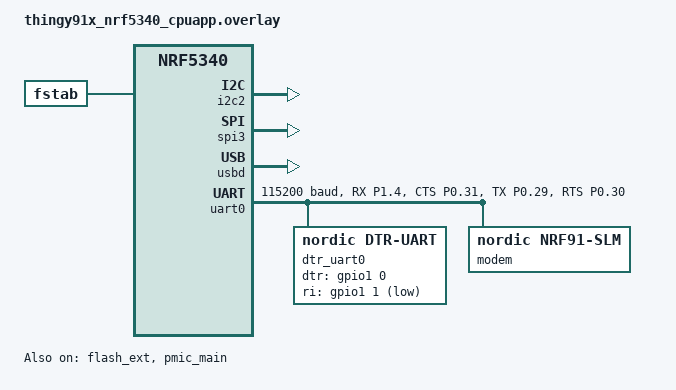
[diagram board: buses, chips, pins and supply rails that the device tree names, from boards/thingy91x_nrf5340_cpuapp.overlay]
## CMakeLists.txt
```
# SPDX-License-Identifier: Apache-2.0

cmake_minimum_required(VERSION 3.20.0)

find_package(Zephyr REQUIRED HINTS $ENV{ZEPHYR_BASE})
project(t91x_memfault_slm_host_app)

target_include_directories(app PRIVATE ota)

target_sources(app PRIVATE src/main.c src/ota_download.c src/sm_xdfu.c ota/ota_bundle_decode.c)

target_sources(app PRIVATE ${ZEPHYR_NRF_MODULE_DIR}/subsys/dfu/fmfu_fdev/src/modem_update_decode.c)
target_include_directories(app PRIVATE ${ZEPHYR_NRF_MODULE_DIR}/subsys/dfu/fmfu_fdev/include)
```

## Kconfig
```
# Copyright (c) 2025 Olivier Lalonde
# SPDX-License-Identifier: Apache-2.0

mainmenu "Memfault over Serial Modem host sample"

source "Kconfig.zephyr"
```

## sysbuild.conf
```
SB_CONFIG_MCUBOOT_NRF53_MULTI_IMAGE_UPDATE=y
SB_CONFIG_NETCORE_HCI_IPC=y
```

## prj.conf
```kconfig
# Copyright (c) 2023 Bjarki Arge Andreasen
# SPDX-License-Identifier: Apache-2.0
CONFIG_POSIX_API=y

# Networking
CONFIG_NETWORKING=y
CONFIG_NET_NATIVE=y
CONFIG_NET_L2_PPP=y
CONFIG_NET_IPV4=y
CONFIG_NET_UDP=y
CONFIG_NET_TCP=y
# TLS/HTTP over PPP needs more than the default 4 packets / 16 buffers of 128 bytes
CONFIG_NET_PKT_RX_COUNT=16
CONFIG_NET_PKT_TX_COUNT=16
CONFIG_NET_BUF_RX_COUNT=48
CONFIG_NET_BUF_TX_COUNT=48
CONFIG_NET_SOCKETS=y
CONFIG_NET_CONTEXT_RCVTIMEO=y

# DNS
CONFIG_DNS_RESOLVER=y
CONFIG_NET_L2_PPP_OPTION_DNS_USE=y

# Network management
CONFIG_NET_MGMT=y
CONFIG_NET_MGMT_EVENT=y
CONFIG_NET_CONNECTION_MANAGER=y

# Modem driver

# Bluetooth host on the application core, with the controller in hci_ipc.
CONFIG_BT=y
CONFIG_MODEM=y
CONFIG_PM_DEVICE=y
CONFIG_MODEM_CELLULAR=y

# Dynamic APN configuration (uncomment if not needed)
#CONFIG_MODEM_CELLULAR_APN="" # Remove default APN
#CONFIG_SAMPLE_CELLULAR_MODEM_AUTO_APN=y
#CONFIG_SAMPLE_CELLULAR_APN_0="shared.m2m.ch"
#CONFIG_SAMPLE_CELLULAR_IMSI_LIST_0="22801"
#CONFIG_SAMPLE_CELLULAR_APN_1="em"
#CONFIG_SAMPLE_CELLULAR_IMSI_LIST_1="29505 90143 29509"

# Statistics
CONFIG_MODEM_STATS=y
CONFIG_SHELL=y

# Testing
CONFIG_MODEM_AT_SHELL=y
CONFIG_MODEM_CELLULAR_SHELL=y
CONFIG_PM_DEVICE_SHELL=y
CONFIG_SHELL_WILDCARD=n

# MCUboot image confirmation
CONFIG_FLASH=y
CONFIG_FLASH_MAP=y
CONFIG_STREAM_FLASH=y
CONFIG_IMG_MANAGER=y
CONFIG_MCUBOOT_IMG_MANAGER=y
CONFIG_DFU_TARGET=y
CONFIG_DFU_TARGET_MCUBOOT=y

# Logging
CONFIG_LOG=y
CONFIG_MODEM_MODULES_LOG_LEVEL_INF=y
# For extra verbosity
#CONFIG_MODEM_CMUX_LOG_LEVEL_DBG=y
#CONFIG_LOG_BUFFER_SIZE=65536

# Memfault
CONFIG_MEMFAULT=y
CONFIG_MEMFAULT_HTTP_ENABLE=y
# Get your project key from Memfault: Settings -> Project Key
CONFIG_MEMFAULT_PROJECT_KEY=""
# Device ID is the nRF9151 IMEI, set at runtime via memfault_ncs_device_id_set()
CONFIG_MEMFAULT_NCS_DEVICE_ID_RUNTIME=y

# Persist Memfault coredumps in the reserved internal-flash storage partition
CONFIG_MEMFAULT_NCS_INTERNAL_FLASH_BACKED_COREDUMP=y
CONFIG_MEMFAULT_COREDUMP_FULL_THREAD_STACKS=y
CONFIG_MEMFAULT_NCS_LTE_METRICS=n

# TLS to Memfault is terminated on this MCU, the modem only carries PPP.
# Crypto settings follow ncs-serial-modem-host-applications/applications/ppp/prj.conf
CONFIG_NET_SOCKETS_SOCKOPT_TLS=y
CONFIG_NET_SOCKETS_TLS_MAX_CONTEXTS=2
# Memfault installs 2 root certs
CONFIG_NET_SOCKETS_TLS_MAX_CREDENTIALS=4
CONFIG_TLS_CREDENTIALS=y
CONFIG_NET_SOCKETS_DNS_TIMEOUT=10000

CONFIG_MBEDTLS=y
CONFIG_MBEDTLS_ENABLE_HEAP=y
CONFIG_MBEDTLS_HEAP_SIZE=24576
# HTTPS server certificate records are larger than the 2048 used for CoAP
CONFIG_MBEDTLS_SSL_IN_CONTENT_LEN=4096
CONFIG_MBEDTLS_SSL_OUT_CONTENT_LEN=2048
CONFIG_MBEDTLS_SSL_SERVER_NAME_INDICATION=y
CONFIG_MBEDTLS_PEM_PARSE_C=y
CONFIG_MBEDTLS_DECLARE_PRIVATE_IDENTIFIERS=y

# TLS 1.2 needs at least one key exchange / ciphersuite
CONFIG_MBEDTLS_TLS_VERSION_1_2=y
CONFIG_MBEDTLS_CIPHERSUITE_TLS_ECDHE_RSA_WITH_AES_128_GCM_SHA256=y
CONFIG_MBEDTLS_CIPHERSUITE_TLS_ECDHE_RSA_WITH_AES_256_GCM_SHA384=y
CONFIG_MBEDTLS_CIPHERSUITE_TLS_ECDHE_ECDSA_WITH_AES_128_GCM_SHA256=y
CONFIG_MBEDTLS_CIPHERSUITE_TLS_ECDHE_ECDSA_WITH_AES_256_GCM_SHA384=y

# PSA algorithms for certificate chain verification
# Random number generation for the TLS handshake (client random, ephemeral keys)
CONFIG_PSA_CRYPTO=y
CONFIG_PSA_WANT_GENERATE_RANDOM=y
CONFIG_PSA_WANT_ALG_SHA_256=y
CONFIG_PSA_WANT_ALG_SHA_1=y
CONFIG_PSA_WANT_ALG_SHA_224=y
CONFIG_PSA_WANT_ALG_SHA_512=y
CONFIG_PSA_WANT_ALG_ECDH=y
CONFIG_PSA_WANT_ALG_ECDSA=y
CONFIG_PSA_WANT_ECC_SECP_R1_256=y
CONFIG_PSA_WANT_ECC_SECP_R1_384=y
CONFIG_PSA_WANT_KEY_TYPE_ECC_KEY_PAIR_EXPORT=y
CONFIG_PSA_WANT_KEY_TYPE_ECC_KEY_PAIR_GENERATE=y
CONFIG_PSA_WANT_KEY_TYPE_ECC_KEY_PAIR_DERIVE=y
CONFIG_PSA_WANT_ALG_RSA_PKCS1V15_SIGN=y
CONFIG_PSA_WANT_KEY_TYPE_RSA_PUBLIC_KEY=y
CONFIG_PSA_WANT_KEY_TYPE_RSA_KEY_PAIR_IMPORT=y

# DNS fallbacks in case PPP does not provide servers
CONFIG_DNS_RESOLVER_MAX_SERVERS=4
# Must be >= the number of DNS servers the dispatcher polls
CONFIG_ZVFS_POLL_MAX=8
CONFIG_DNS_SERVER_IP_ADDRESSES=y
CONFIG_DNS_SERVER1="8.8.8.8"
CONFIG_DNS_SERVER2="1.1.1.1"

CONFIG_HEAP_MEM_POOL_SIZE=16384
# TLS handshake and certificate verification run on the main thread
CONFIG_MAIN_STACK_SIZE=8192
CONFIG_SYSTEM_WORKQUEUE_STACK_SIZE=3072

# Temporary: TLS handshake debugging
# CONFIG_NET_LOG=y
# CONFIG_NET_SOCKETS_LOG_LEVEL_DBG=y
# CONFIG_LOG_BUFFER_SIZE=8192
# CONFIG_MBEDTLS_DEBUG=y
# CONFIG_MBEDTLS_LOG_LEVEL_DBG=y
# CONFIG_MEMFAULT_LOG_LEVEL_DBG=y

CONFIG_ZCBOR=y

# OTA bundle download to the /ota file system (external flash)
CONFIG_DOWNLOADER=y
CONFIG_DOWNLOADER_TRANSPORT_HTTP=y
CONFIG_DOWNLOADER_STACK_SIZE=8192
CONFIG_DOWNLOADER_MAX_HOSTNAME_SIZE=64
CONFIG_DOWNLOADER_MAX_FILENAME_SIZE=256

CONFIG_REBOOT=y
CONFIG_FILE_SYSTEM=y
CONFIG_FILE_SYSTEM_SHELL=y

CONFIG_FLASH_SHELL=y

CONFIG_MEMFAULT_NCS_FW_VERSION_STATIC=y
CONFIG_MEMFAULT_NCS_FW_VERSION="0.1.0"

CONFIG_GPIO=y
```

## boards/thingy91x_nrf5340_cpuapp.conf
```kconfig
CONFIG_USB_DEVICE_STACK=y
CONFIG_USB_CDC_ACM=y
CONFIG_USB_DEVICE_INITIALIZE_AT_BOOT=y

# The nRF91 SLM driver exposes gnss_pipe, not user_pipe_0 required by AT shell.
CONFIG_MODEM_AT_SHELL=n
CONFIG_I2C_SHELL=y
# Match the SLM CMUX settings (ncs-serial-modem/app/cmux.conf)
CONFIG_MODEM_CMUX_MTU=127
CONFIG_MODEM_CMUX_WORK_BUFFER_SIZE_EXTRA=399

# OTA bundle storage on external flash (LittleFS at /ota)
CONFIG_FLASH=y
CONFIG_FLASH_MAP=y
CONFIG_SPI_NOR=y
CONFIG_SPI_NOR_SFDP_DEVICETREE=y
CONFIG_SPI_NOR_FLASH_LAYOUT_PAGE_SIZE=4096
CONFIG_FILE_SYSTEM=y
CONFIG_FILE_SYSTEM_LITTLEFS=y

# prj.conf
CONFIG_BT=y
CONFIG_BT_PERIPHERAL=y  # or CONFIG_BT_CENTRAL=y, depending on the role
```

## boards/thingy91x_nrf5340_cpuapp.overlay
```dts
/* Copyright (c) 2026 Nordic Semiconductor ASA
 *
 * SPDX-License-Identifier: LicenseRef-Nordic-5-Clause
 */

&i2c2 {
	status = "okay";
};

&spi3 {
	status = "okay";
};

/ {
	chosen {
		zephyr,wifi = &nordic_wlan0;
		nordic,memfault-coredump-partition = &storage_partition;
	};
};

/* Enable short range RF */
&ldsw_rf_fe_sr_en {
	/delete-property/ output-low;
	output-high;
};

&flash_ext {
	status = "okay";
};

&pmic_main {
	status = "okay";

	npm1300_gpios {
		status = "okay";
	};

	regulators {
		status = "okay";
	};

	charger {
		status = "okay";
	};
};


/delete-node/ &boot_partition;
/delete-node/ &slot0_partition;
/delete-node/ &slot1_partition;
/delete-node/ &storage_partition;

&flash0 {
	partitions {
		ranges;
		#address-cells = <1>;
		#size-cells = <1>;

		b0_partition: partition@0 {
			compatible = "zephyr,mapped-partition";
			label = "b0";
			reg = <0x0 DT_SIZE_K(32)>;
		};

		s0_partition: partition@8000 {
			compatible = "zephyr,mapped-partition";
			label = "b0-image-0";
			reg = <0x8000 DT_SIZE_K(80)>;
		};

		s1_partition: partition@1c000 {
			compatible = "zephyr,mapped-partition";
			label = "b0-image-1";
			reg = <0x1c000 DT_SIZE_K(80)>;
		};

		slot0_partition: partition@30000 {
			compatible = "zephyr,mapped-partition";
			label = "image-0";
			reg = <0x30000 DT_SIZE_K(704)>;
		};

		storage_partition: partition@e0000 {
			compatible = "zephyr,mapped-partition";
			label = "storage";
			reg = <0xe0000 DT_SIZE_K(128)>;
		};
	};
};

/* MCUboot secondary slot in external flash */
&flash_ext {
	partitions {
		compatible = "fixed-partitions";
		#address-cells = <1>;
		#size-cells = <1>;

		slot1_partition: partition@0 {
			label = "image-1";
			reg = <0x0 DT_SIZE_K(704)>;
		};

		slot3_partition: partition@cc000 {
			label = "image-3";
			reg = <0xcc000 DT_SIZE_K(256)>;
		};

		/* OTA bundle storage (LittleFS), 4 MB: a 3 MB bundle plus filesystem overhead */
		ota_partition: partition@110000 {
			label = "ota";
			reg = <0x110000 DT_SIZE_M(4)>;
		};
	};
};

/ {
	fstab {
		compatible = "zephyr,fstab";

		ota_fs: ota {
			compatible = "zephyr,fstab,littlefs";
			mount-point = "/ota";
			partition = <&ota_partition>;
			read-size = <16>;
			prog-size = <16>;
			cache-size = <256>;
			lookahead-size = <128>;
			block-cycles = <512>;
			automount;
		};
	};
};

&usbd {
	compatible = "nordic,nrf-usbd";
	status = "okay";
};

/ {
	chosen {
		zephyr,console = &cdc_acm_uart0;
		zephyr,shell-uart = &cdc_acm_uart0;
		zephyr,uart-mcumgr = &cdc_acm_uart0;
		zephyr,bt-mon-uart = &cdc_acm_uart0;
		zephyr,bt-c2h-uart = &cdc_acm_uart0;
	};
};

&rtt0 {
	status = "disabled";
};

&uart0 {
	compatible = "nordic,nrf-uarte";
	current-speed = <115200>;
	hw-flow-control;
	status = "okay";

	dtr_uart0: dtr-uart {
		compatible = "nordic,dtr-uart";
		dtr-gpios = <&gpio1 0 (GPIO_PULL_UP | GPIO_ACTIVE_HIGH)>; /* shared GPIO3 */
		ri-gpios = <&gpio1 1 GPIO_ACTIVE_LOW>; /* shared GPIO4 */
		status = "okay";
	};
	pinctrl-0 = <&uart0_default_t91x>;
	pinctrl-1 = <&uart0_sleep_t91x>;
	pinctrl-names = "default", "sleep";

	zephyr,pm-device-runtime-auto;

	modem: modem {
		compatible = "nordic,nrf91-slm";
		status = "okay";
		//mdm-reset-gpios = <&gpio1 7 (GPIO_ACTIVE_LOW | GPIO_OPEN_DRAIN)>;
		zephyr,pm-device-runtime-auto;
		autostarts;
	};
};

/ {
	aliases {
		modem-uart = &uart0;
		modem = &modem;
	};
};

&pinctrl {
	uart0_default_t91x: uart0_default_t91x {
		group1 {
			psels = <NRF_PSEL(UART_RX, 1, 4)>, /* default t91x UART0_RX */
				<NRF_PSEL(UART_CTS, 0, 31)>; /* shared GPIO2 */
			bias-pull-up;
		};
		group2 {
			psels = <NRF_PSEL(UART_TX, 0, 29)>, /* default t91x UART0_TX */
				<NRF_PSEL(UART_RTS, 0, 30)>; /* shared GPIO1 */
		};
	};

	uart0_sleep_t91x: uart0_sleep_t91x {
		group1 {
			psels = <NRF_PSEL(UART_TX, 0, 29)>,
				<NRF_PSEL(UART_RX, 1, 4)>,
				<NRF_PSEL(UART_RTS, 0, 30)>,
				<NRF_PSEL(UART_CTS, 0, 31)>;
			low-power-enable;
		};
	};
};
```

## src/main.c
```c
/*
 * Copyright (c) 2023, Bjarki Arge Andreasen
 *
 * SPDX-License-Identifier: Apache-2.0
 */

#include <string.h>

#include <zephyr/device.h>
#include <zephyr/kernel.h>
#include <zephyr/bluetooth/bluetooth.h>
#include <zephyr/bluetooth/hci.h>
#include <zephyr/bluetooth/hci_types.h>
#include <zephyr/logging/log.h>
#include <zephyr/net/net_if.h>
#include <zephyr/net/net_mgmt.h>
#include <zephyr/pm/device.h>
#include <zephyr/drivers/cellular.h>
#include <zephyr/shell/shell.h>
#include <zephyr/sys/atomic.h>
#include <zephyr/sys/byteorder.h>
#include <zephyr/devicetree.h>
#include <zephyr/storage/flash_map.h>

#include <memfault/components.h>
#include <memfault/core/platform/device_info.h>
#include <memfault/ports/zephyr/http.h>
#include <memfault/ports/zephyr/root_cert_storage.h>
#include <memfault_ncs.h>

#include <zephyr/dfu/mcuboot.h>
#include <fw_info.h>

#include "ota_download.h"
#include "sm_xdfu.h"

LOG_MODULE_REGISTER(main, LOG_LEVEL_INF);

static const int memfault_sec_tags[] = {
	kMemfaultRootCert_DigicertRootG2,
	kMemfaultRootCert_AmazonRootCa1,
};

#define L4_EVENT_MASK \
	(NET_EVENT_L4_CONNECTED | NET_EVENT_L4_DISCONNECTED | NET_EVENT_DNS_SERVER_ADD)
#define L4_CONNECTED 1
#define L4_DNS_ADDED 2
#define APP_READY 4

#define IMEI_LEN 15

const struct device *modem = DEVICE_DT_GET(DT_ALIAS(modem));

static struct net_if *ppp_iface;
static K_EVENT_DEFINE(l4_event);
static bool bluetooth_ready;

enum ota_operation {
	OTA_IDLE,
	OTA_DOWNLOAD,
	OTA_RESUME,
	OTA_STATUS,
	OTA_APPLY,
	OTA_VERSIONS,
};

static atomic_t ota_operation;
static K_SEM_DEFINE(ota_request, 0, 1);

static int cmd_modem_hard_reset(const struct shell *sh, size_t argc, char **argv)
{
	ARG_UNUSED(argc);
	ARG_UNUSED(argv);

	shell_print(sh, "Hard resetting modem and cold rebooting host");
	modem_hard_reset();
	return 0;
}

SHELL_CMD_ARG_REGISTER(modem_hard_reset, NULL, "Hard reset modem and cold reboot host",
		       cmd_modem_hard_reset, 1, 0);

static void l4_event_handler(uint64_t event, struct net_if *iface, void *info, size_t info_length,
			     void *user_data)
{
	if (iface != ppp_iface) {
		return;
	}

	switch (event) {
	case NET_EVENT_L4_CONNECTED:
		k_event_post(&l4_event, L4_CONNECTED);
		break;
	case NET_EVENT_DNS_SERVER_ADD:
		k_event_post(&l4_event, L4_DNS_ADDED);
		break;
	case NET_EVENT_L4_DISCONNECTED:
		k_event_clear(&l4_event, L4_CONNECTED | L4_DNS_ADDED);
		break;
	default:
		break;
	}
}

NET_MGMT_REGISTER_EVENT_HANDLER(l4_events, L4_EVENT_MASK, l4_event_handler, NULL);

static void ota_download_run(void)
{
	char *url = NULL;
	int ret;

	LOG_INF("Checking for OTA update");
	ret = memfault_zephyr_port_get_download_url(&url);
	if (ret < 0) {
		LOG_ERR("OTA check failed (%d)", ret);
		return;
	}
	if (ret == 0) {
		LOG_INF("Up to date");
		return;
	}

	LOG_INF("Downloading OTA bundle");
	ret = ota_bundle_download(url, memfault_sec_tags, ARRAY_SIZE(memfault_sec_tags));
	memfault_zephyr_port_release_download_url(&url);
	if (ret < 0) {
		LOG_ERR("OTA download failed (%d)", ret);
	} else {
		LOG_INF("Bundle saved to %s", OTA_BUNDLE_PATH);
	}
}

static void ota_resume_run(void)
{
	int ret = ota_bundle_resume(memfault_sec_tags, ARRAY_SIZE(memfault_sec_tags));

	if (ret < 0) {
		LOG_ERR("OTA resume failed (%d)", ret);
	} else {
		LOG_INF("Resumed OTA bundle saved to %s", OTA_BUNDLE_PATH);
	}
}

static const struct fw_info *firmware_info_at(uint32_t address)
{
	const struct fw_info *info = fw_info_find(address);

	if (info == NULL || info->valid != CONFIG_FW_INFO_VALID_VAL) {
		return NULL;
	}
	return info;
}

static void ota_versions_run(void)
{
	const struct fw_info *s0_info = firmware_info_at(DT_REG_ADDR(DT_NODELABEL(s0_partition)));
	const struct fw_info *s1_info = firmware_info_at(DT_REG_ADDR(DT_NODELABEL(s1_partition)));
	sMemfaultDeviceInfo device_info = {0};
	struct mcuboot_img_header app_secondary_header;
	struct mcuboot_img_header net_secondary_header;
	char mfw_version[128] = {0};
	char slm_version[64] = {0};
	bool was_up = net_if_is_up(ppp_iface);
	bool s0_valid = s0_info != NULL;
	bool s1_valid = s1_info != NULL;
	const char *active_slot = "unknown";
	int ret;
	struct net_buf *response = NULL;

	memfault_platform_get_device_info(&device_info);
	LOG_INF("nRF52 app version: %s",
		device_info.software_version != NULL ? device_info.software_version : "unavailable");

	if (s0_valid && s1_valid) {
		active_slot = s0_info->version >= s1_info->version ? "S0" : "S1";
	} else if (s0_valid) {
		active_slot = "S0";
	} else if (s1_valid) {
		active_slot = "S1";
	}
	if (s0_valid) {
		LOG_INF("nrf53_bl S0: version %u", s0_info->version);
	} else {
		LOG_INF("nrf53_bl S0: no valid firmware info");
	}
	if (s1_valid) {
		LOG_INF("nrf53_bl S1: version %u", s1_info->version);
	} else {
		LOG_INF("nrf53_bl S1: no valid firmware info");
	}
	LOG_INF("nrf53_bl: selected slot %s", active_slot);

	ret = boot_read_bank_header(PARTITION_ID(slot1_partition), &app_secondary_header,
				    sizeof(app_secondary_header));
	if (ret == 0 && app_secondary_header.mcuboot_version == 1) {
		const struct mcuboot_img_sem_ver *version = &app_secondary_header.h.v1.sem_ver;

		LOG_INF("nrf53_app secondary (slot1): MCUboot version %u.%u.%u+%u, image size %u",
			version->major, version->minor, version->revision, version->build_num,
			app_secondary_header.h.v1.image_size);
	} else if (ret == -EIO) {
		LOG_INF("nrf53_app secondary (slot1): no MCUboot header");
	} else {
		LOG_WRN("nrf53_app secondary (slot1): version unavailable (%d)",
			ret != 0 ? ret : -ENOTSUP);
	}

	ret = boot_read_bank_header(PARTITION_ID(slot3_partition), &net_secondary_header,
				    sizeof(net_secondary_header));
	if (ret == 0 && net_secondary_header.mcuboot_version == 1) {
		const struct mcuboot_img_sem_ver *version = &net_secondary_header.h.v1.sem_ver;

		LOG_INF("nrf53_net secondary (slot3): MCUboot version %u.%u.%u+%u, image size %u",
			version->major, version->minor, version->revision, version->build_num,
			net_secondary_header.h.v1.image_size);
	} else if (ret == -EIO) {
		LOG_INF("nrf53_net secondary (slot3): no MCUboot header");
	} else {
		LOG_WRN("nrf53_net secondary (slot3): version unavailable (%d)",
			ret != 0 ? ret : -ENOTSUP);
	}

	if (bluetooth_ready) {
		ret = bt_hci_cmd_send_sync(BT_HCI_OP_READ_LOCAL_VERSION_INFO, NULL, &response);
		if (ret == 0 && response != NULL &&
		    response->len >= sizeof(struct bt_hci_rp_read_local_version_info)) {
			const struct bt_hci_rp_read_local_version_info *version =
				(const struct bt_hci_rp_read_local_version_info *)response->data;

			if (version->status == 0) {
				LOG_INF("nrf53_net BLE controller: HCI %u rev 0x%04x, LMP %u, "
					"manufacturer 0x%04x, subversion 0x%04x",
					version->hci_version, sys_le16_to_cpu(version->hci_revision),
					version->lmp_version,
					sys_le16_to_cpu(version->manufacturer),
					sys_le16_to_cpu(version->lmp_subversion));
			} else {
				LOG_WRN("nrf53_net BLE controller version query status 0x%02x",
					version->status);
			}
		} else {
			LOG_WRN("nrf53_net BLE controller version unavailable (%d)", ret);
		}
		if (response != NULL) {
			net_buf_unref(response);
		}
	} else {
		LOG_WRN("nrf53_net BLE controller version unavailable (Bluetooth not initialized)");
	}

	ret = cellular_get_modem_info(modem, CELLULAR_MODEM_INFO_FW_VERSION,
				      mfw_version, sizeof(mfw_version) - 1);
	if (ret == 0) {
		mfw_version[sizeof(mfw_version) - 1] = '\0';
		LOG_INF("nrf91_mfw: %s", mfw_version);
	} else {
		LOG_WRN("nrf91_mfw: version unavailable (%d)", ret);
	}

	if (was_up) {
		ret = net_if_down(ppp_iface);
		if (ret < 0) {
			LOG_ERR("Cannot stop PPP to query SLM version: %d", ret);
			return;
		}
	}
	ret = pm_device_action_run(modem, PM_DEVICE_ACTION_SUSPEND);
	if (ret < 0 && ret != -EALREADY) {
		LOG_ERR("Cannot suspend modem to query SLM version: %d", ret);
		goto restore_interface;
	}
	ret = sm_xdfu_get_slm_version(modem, slm_version, sizeof(slm_version));
	if (ret == 0) {
		LOG_INF("nrf91_app (SLM): %s", slm_version);
	} else {
		LOG_WRN("nrf91_app (SLM): version unavailable (%d)", ret);
	}

	ret = pm_device_action_run(modem, PM_DEVICE_ACTION_RESUME);
	if (ret < 0) {
		LOG_ERR("Cannot resume modem after version query: %d", ret);
		return;
	}

restore_interface:
	if (was_up) {
		ret = net_if_up(ppp_iface);
		if (ret < 0) {
			LOG_ERR("Cannot restore PPP after version query: %d", ret);
		}
	}
}

static void ota_thread_fn(void *unused1, void *unused2, void *unused3)
{
	ARG_UNUSED(unused1);
	ARG_UNUSED(unused2);
	ARG_UNUSED(unused3);

	while (true) {
		k_sem_take(&ota_request, K_FOREVER);
		switch (atomic_get(&ota_operation)) {
		case OTA_DOWNLOAD:
			ota_download_run();
			break;
		case OTA_RESUME:
			ota_resume_run();
			break;
		case OTA_STATUS:
			ota_bundle_status();
			break;
		case OTA_APPLY: {
			int ret = ota_bundle_apply();

			if (ret < 0) {
				LOG_ERR("OTA apply failed (%d)", ret);
			} else {
				LOG_INF("OTA update transfer complete");
				ret = ota_bundle_delete();
				if (ret < 0) {
					LOG_WRN("Failed to delete OTA bundle (%d)", ret);
				}
			}
			modem_hard_reset();
			break;
		}
		case OTA_VERSIONS:
			ota_versions_run();
			break;
		default:
			LOG_ERR("Invalid OTA worker operation");
			break;
		}
		atomic_set(&ota_operation, OTA_IDLE);
	}
}

K_THREAD_DEFINE(ota_thread, 8192, ota_thread_fn, NULL, NULL, NULL,
		K_LOWEST_APPLICATION_THREAD_PRIO, 0, 0);

static int ota_submit(const struct shell *sh, enum ota_operation operation)
{
	if (k_event_test(&l4_event, APP_READY) == 0) {
		shell_error(sh, "Application is not ready");
		return -EAGAIN;
	}
	if ((operation == OTA_DOWNLOAD || operation == OTA_RESUME) &&
	    k_event_test(&l4_event, L4_CONNECTED) == 0) {
		shell_error(sh, "Network is not ready");
		return -EAGAIN;
	}
	if (!atomic_cas(&ota_operation, OTA_IDLE, operation)) {
		shell_error(sh, "An OTA operation is already running");
		return -EBUSY;
	}
	const char *name = operation == OTA_DOWNLOAD ? "download" :
			   operation == OTA_RESUME ? "resume" :
			   operation == OTA_STATUS ? "status" :
			   operation == OTA_APPLY ? "apply" : "versions";
	shell_print(sh, "OTA %s queued", name);
	k_sem_give(&ota_request);
	return 0;
}

static int cmd_ota_download(const struct shell *sh, size_t argc, char **argv)
{
	ARG_UNUSED(argc);
	ARG_UNUSED(argv);
	return ota_submit(sh, OTA_DOWNLOAD);
}

static int cmd_ota_apply(const struct shell *sh, size_t argc, char **argv)
{
	ARG_UNUSED(argc);
	ARG_UNUSED(argv);
	return ota_submit(sh, OTA_APPLY);
}

static int cmd_ota_resume(const struct shell *sh, size_t argc, char **argv)
{
	ARG_UNUSED(argc);
	ARG_UNUSED(argv);
	return ota_submit(sh, OTA_RESUME);
}

static int cmd_ota_status(const struct shell *sh, size_t argc, char **argv)
{
	ARG_UNUSED(argc);
	ARG_UNUSED(argv);
	return ota_submit(sh, OTA_STATUS);
}

static int cmd_ota_versions(const struct shell *sh, size_t argc, char **argv)
{
	ARG_UNUSED(argc);
	ARG_UNUSED(argv);
	return ota_submit(sh, OTA_VERSIONS);
}

SHELL_STATIC_SUBCMD_SET_CREATE(ota_commands,
	SHELL_CMD_ARG(download, NULL, "Download the available Memfault OTA bundle",
		      cmd_ota_download, 1, 0),
	SHELL_CMD_ARG(resume, NULL, "Resume an interrupted OTA bundle download",
		      cmd_ota_resume, 1, 0),
	SHELL_CMD_ARG(status, NULL, "Show saved OTA bundle download state",
		      cmd_ota_status, 1, 0),
	SHELL_CMD_ARG(apply, NULL, "Verify and apply the saved OTA bundle", cmd_ota_apply, 1, 0),
	SHELL_CMD_ARG(versions, NULL, "Print versions of installed images", cmd_ota_versions, 1, 0),
	SHELL_SUBCMD_SET_END);

SHELL_CMD_REGISTER(ota, &ota_commands, "OTA bundle operations", NULL);

static int memfault_device_id_init(void)
{
	char imei[IMEI_LEN + 1];
	int ret;

	ret = cellular_get_modem_info(modem, CELLULAR_MODEM_INFO_IMEI, imei, sizeof(imei));
	if (ret < 0) {
		LOG_ERR("Failed to get IMEI (%d)", ret);
		return ret;
	}

	LOG_INF("IMEI: %s", imei);

	return memfault_ncs_device_id_set(imei, strlen(imei));
}

int main(void)
{
	int ret;

	ppp_iface = net_if_get_first_by_type(&NET_L2_GET_NAME(PPP));

	LOG_INF("Powering on modem");
	pm_device_action_run(modem, PM_DEVICE_ACTION_RESUME);

	LOG_INF("Bring up network interface");
	ret = net_if_up(ppp_iface);
	if (ret < 0) {
		LOG_ERR("Failed to bring up network interface");
		return -1;
	}

	LOG_INF("Waiting for L4 connected");
	ret = k_event_wait(&l4_event, L4_CONNECTED, false, K_SECONDS(120));
	if (ret != L4_CONNECTED) {
		LOG_ERR("L4 was not connected in time");
		modem_hard_reset();
		return -1;
	}

	ret = k_event_wait(&l4_event, L4_DNS_ADDED, false, K_SECONDS(10));
	if (ret != L4_DNS_ADDED) {
		LOG_ERR("DNS server was not added in time");
		return -1;
	}

	ret = memfault_device_id_init();
	if (ret < 0) {
		return -1;
	}

	ret = bt_enable(NULL);
	if (ret < 0) {
		LOG_ERR("Bluetooth initialization failed (%d)", ret);
	} else {
		bluetooth_ready = true;
		LOG_INF("Bluetooth host initialized over HCI IPC");
	}

	ret = memfault_zephyr_port_install_root_certs();
	if (ret < 0) {
		LOG_ERR("Failed to install Memfault root certs (%d)", ret);
		return -1;
	}

	/* Capture a heartbeat now instead of waiting for the periodic timer. */
	memfault_metrics_heartbeat_debug_trigger();

	LOG_INF("Uploading data to Memfault");
	ret = memfault_zephyr_port_post_data();
	if (ret < 0) {
		LOG_ERR("Memfault upload failed (%d)", ret);
		return -1;
	}

	if (!boot_is_img_confirmed()) {
		LOG_INF("Confirming OTA update");
		ret = boot_write_img_confirmed();
		if (ret < 0) {
			LOG_ERR("Image confirmation failed (%d)", ret);
			return ret;
		}
	}

	k_event_post(&l4_event, APP_READY);
	return 0;
}
```

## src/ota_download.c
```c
/*
 * Copyright (c) 2026 Nordic Semiconductor ASA
 *
 * SPDX-License-Identifier: LicenseRef-Nordic-5-Clause
 */

#include <errno.h>
#include <stdlib.h>
#include <string.h>
#include <psa/crypto.h>

#include <zephyr/drivers/gpio.h>
#include <zephyr/fs/fs.h>
#include <zephyr/kernel.h>
#include <zephyr/logging/log.h>
#include <zephyr/net/net_if.h>
#include <zephyr/pm/device.h>
#include <zephyr/sys/reboot.h>

#include <dfu/dfu_target_mcuboot.h>
#include <net/downloader.h>

#include "ota_bundle_decode.h"
#include "ota_download.h"
#include "sm_xdfu.h"

LOG_MODULE_REGISTER(ota_download, LOG_LEVEL_INF);

static const struct gpio_dt_spec modem_reset = {
	.port = DEVICE_DT_GET(DT_NODELABEL(gpio1)),
	.pin = 7,
	.dt_flags = GPIO_ACTIVE_LOW | GPIO_OPEN_DRAIN,
};

static const char *ota_target_name(int target)
{
	switch (target) {
	case ota_element_target_nrf53_app_m_c:
		return "nrf53_app";
	case ota_element_target_nrf53_net_m_c:
		return "nrf53_net";
	case ota_element_target_nrf53_bl_m_c:
		return "nrf53_bl";
	case ota_element_target_nrf91_app_m_c:
		return "nrf91_app";
	case ota_element_target_nrf91_bl_m_c:
		return "nrf91_bl";
	case ota_element_target_nrf91_mdm_delta_m_c:
		return "nrf91_mdm_delta";
	case ota_element_target_nrf91_mdm_full_m_c:
		return "nrf91_mdm_full";
	default:
		return "unknown";
	}
}

static struct downloader dl;
static struct fs_file_t ota_file;
static char dl_buf[2048] __aligned(4);
static uint8_t mcuboot_buf[1024] __aligned(4);
static K_SEM_DEFINE(dl_done, 0, 1);
static int dl_result;

#define OTA_PARTIAL_PATH "/ota/bundle.part"
#define OTA_STATE_PATH "/ota/download.state"
#define OTA_STATE_TMP_PATH "/ota/download.state.tmp"
#define OTA_STATE_MAGIC 0x4f544153
#define OTA_STATE_VERSION 1
#define OTA_CHECKPOINT_SIZE (16 * 1024)
#define OTA_URL_MAX_SIZE \
	(CONFIG_DOWNLOADER_MAX_HOSTNAME_SIZE + CONFIG_DOWNLOADER_MAX_FILENAME_SIZE + 16)

struct ota_download_state {
	uint32_t magic;
	uint32_t version;
	uint64_t offset;
	char url[OTA_URL_MAX_SIZE];
};

static struct ota_download_state download_state;
static size_t received_bytes;
static size_t committed_bytes;
static bool ota_file_open;

static int unlink_if_exists(const char *path)
{
	struct fs_dirent entry;
	int err = fs_stat(path, &entry);

	if (err == -ENOENT) {
		return 0;
	}
	if (err < 0) {
		return err;
	}
	return fs_unlink(path);
}

static int download_state_save(size_t offset)
{
	struct ota_download_state state = {
		.magic = OTA_STATE_MAGIC,
		.version = OTA_STATE_VERSION,
		.offset = offset,
	};
	struct fs_file_t state_file;
	ssize_t written;
	int err;

	memcpy(state.url, download_state.url, sizeof(state.url));
	fs_file_t_init(&state_file);
	err = fs_open(&state_file, OTA_STATE_TMP_PATH,
		      FS_O_CREATE | FS_O_WRITE | FS_O_TRUNC);
	if (err < 0) {
		LOG_ERR("Opening OTA download state failed: %d", err);
		return err;
	}

	written = fs_write(&state_file, &state, sizeof(state));
	if (written < 0) {
		err = written;
	} else if ((size_t)written != sizeof(state)) {
		err = -ENOSPC;
	} else {
		err = fs_sync(&state_file);
	}
	if (fs_close(&state_file) < 0 && err == 0) {
		err = -EIO;
	}
	if (err < 0) {
		(void)fs_unlink(OTA_STATE_TMP_PATH);
		return err;
	}

	return fs_rename(OTA_STATE_TMP_PATH, OTA_STATE_PATH);
}

static int download_state_load(struct ota_download_state *state)
{
	struct fs_file_t state_file;
	ssize_t bytes_read;
	int err;

	fs_file_t_init(&state_file);
	err = fs_open(&state_file, OTA_STATE_PATH, FS_O_READ);
	if (err < 0) {
		return err;
	}
	bytes_read = fs_read(&state_file, state, sizeof(*state));
	if (bytes_read < 0) {
		err = bytes_read;
	} else if ((size_t)bytes_read != sizeof(*state)) {
		err = -EBADMSG;
	} else {
		err = 0;
	}
	if (fs_close(&state_file) < 0 && err == 0) {
		err = -EIO;
	}
	if (err < 0) {
		return err;
	}
	if (state->magic != OTA_STATE_MAGIC || state->version != OTA_STATE_VERSION ||
	    state->url[0] == '\0' || memchr(state->url, '\0', sizeof(state->url)) == NULL) {
		return -EBADMSG;
	}
	return 0;
}

static int download_checkpoint(void)
{
	int err = fs_sync(&ota_file);

	if (err < 0) {
		return err;
	}
	err = fs_close(&ota_file);
	ota_file_open = false;
	if (err < 0) {
		return err;
	}
	err = download_state_save(received_bytes);
	if (err == 0) {
		committed_bytes = received_bytes;
	}
	if (err == 0) {
		err = fs_open(&ota_file, OTA_PARTIAL_PATH, FS_O_WRITE);
		if (err == 0) {
			ota_file_open = true;
			err = fs_seek(&ota_file, (off_t)received_bytes, FS_SEEK_SET);
		}
	}
	return err;
}

static int dl_callback(const struct downloader_evt *evt)
{
	ssize_t written;
	int err;

	switch (evt->id) {
	case DOWNLOADER_EVT_FRAGMENT:
		written = fs_write(&ota_file, evt->fragment.buf, evt->fragment.len);
		if (written < 0 || (size_t)written != evt->fragment.len) {
			err = written < 0 ? (int)written : -ENOSPC;
			LOG_ERR("fs_write failed: %d", err);
			dl_result = err;
			return 1; /* non-zero stops the download */
		}
		received_bytes += (size_t)written;
		if (received_bytes - committed_bytes >= OTA_CHECKPOINT_SIZE) {
			err = download_checkpoint();
			if (err < 0) {
				LOG_ERR("Download checkpoint failed: %d", err);
				dl_result = err;
				return 1;
			}
		}
		return 0;

	case DOWNLOADER_EVT_ERROR:
		LOG_ERR("Download error: %d", evt->error);
		dl_result = evt->error;
		if (received_bytes > committed_bytes) {
			err = download_checkpoint();
			if (err < 0) {
				LOG_WRN("Could not save final download checkpoint: %d", err);
			}
		}
		return 1; /* stop; zero would let the downloader reconnect and resume */

	case DOWNLOADER_EVT_DONE:
		dl_result = 0;
		k_sem_give(&dl_done);
		return 0;

	case DOWNLOADER_EVT_STOPPED:
		if (dl_result == 0) {
			dl_result = -ECANCELED;
		}
		k_sem_give(&dl_done);
		return 0;

	default:
		return 0;
	}
}

static int ota_bundle_download_from(const char *url, const int *sec_tags,
				    uint8_t sec_tag_count, size_t offset, bool fresh)
{
	struct downloader_cfg cfg = {
		.callback = dl_callback,
		.buf = dl_buf,
		.buf_size = sizeof(dl_buf),
	};
	struct downloader_host_cfg host_cfg = {
		.sec_tag_list = sec_tags,
		.sec_tag_count = sec_tag_count,
		.range_override = sizeof(dl_buf),
	};
	struct fs_statvfs sv;
	struct fs_dirent partial_stat;
	size_t total_size;
	int err;

	if (fresh) {
		size_t url_len = strlen(url);

		if (url_len == 0 || url_len >= sizeof(download_state.url)) {
			return -E2BIG;
		}
		err = unlink_if_exists(OTA_BUNDLE_PATH);
		if (err < 0) {
			return err;
		}
		err = unlink_if_exists(OTA_PARTIAL_PATH);
		if (err < 0) {
			return err;
		}
		err = unlink_if_exists(OTA_STATE_PATH);
		if (err < 0) {
			return err;
		}
		err = unlink_if_exists(OTA_STATE_TMP_PATH);
		if (err < 0) {
			return err;
		}
		memset(&download_state, 0, sizeof(download_state));
		memcpy(download_state.url, url, url_len + 1);
		offset = 0;
	} else {
		download_state = (struct ota_download_state){0};
		err = download_state_load(&download_state);
		if (err < 0) {
			LOG_ERR("Cannot load saved download state: %d", err);
			return err;
		}
		if (download_state.offset > SIZE_MAX) {
			return -EFBIG;
		}
		offset = (size_t)download_state.offset;
		if (fs_stat(OTA_PARTIAL_PATH, &partial_stat) < 0 ||
		    partial_stat.size < (off_t)offset) {
			LOG_ERR("Partial bundle is missing or shorter than its checkpoint");
			return -EBADMSG;
		}
	}

	received_bytes = offset;
	committed_bytes = offset;
	if (fresh) {
		err = download_state_save(0);
		if (err < 0) {
			return err;
		}
	}

	fs_file_t_init(&ota_file);
	err = fs_open(&ota_file, OTA_PARTIAL_PATH, FS_O_CREATE | FS_O_WRITE |
		      (fresh ? FS_O_TRUNC : 0));
	if (err < 0) {
		LOG_ERR("Opening partial bundle failed: %d", err);
		return err;
	}
	ota_file_open = true;
	err = fs_truncate(&ota_file, (off_t)offset);
	if (err == 0) {
		err = fs_seek(&ota_file, (off_t)offset, FS_SEEK_SET);
	}
	if (err < 0) {
		goto out_close;
	}

	err = downloader_init(&dl, &cfg);
	if (err) {
		LOG_ERR("downloader_init failed: %d", err);
		goto out_close;
	}

	k_sem_reset(&dl_done);
	dl_result = 0;

	err = downloader_get(&dl, &host_cfg, download_state.url, offset);
	if (err) {
		LOG_ERR("downloader_get failed: %d", err);
		goto out_deinit;
	}

	k_sem_take(&dl_done, K_FOREVER);
	err = dl_result;
	if (err == 0) {
		err = fs_sync(&ota_file);
	}
	if (err == 0) {
		err = downloader_file_size_get(&dl, &total_size);
	}
	if (err == 0 && received_bytes != total_size) {
		LOG_ERR("Incomplete download: received %zu of %zu bytes", received_bytes,
			total_size);
		err = -ENODATA;
	}

out_deinit:
	downloader_deinit(&dl);
out_close:
	if (err < 0 && ota_file_open && received_bytes > committed_bytes) {
		int checkpoint_err = download_checkpoint();

		if (checkpoint_err < 0) {
			LOG_WRN("Could not save final download checkpoint: %d", checkpoint_err);
		}
	}
	if (ota_file_open) {
		if (fs_sync(&ota_file) < 0 && err == 0) {
			err = -EIO;
		}
		if (fs_close(&ota_file) < 0 && err == 0) {
			err = -EIO;
		}
		ota_file_open = false;
	}

	if (err == 0) {
		err = fs_rename(OTA_PARTIAL_PATH, OTA_BUNDLE_PATH);
		if (err == 0) {
			(void)fs_unlink(OTA_STATE_PATH);
			(void)fs_unlink(OTA_STATE_TMP_PATH);
		}
	}
	if (err == 0 && fs_statvfs("/ota", &sv) == 0) {
		LOG_INF("Bundle stored, %lu of %lu blocks free", sv.f_bfree, sv.f_blocks);
	}

	return err;
}

int ota_bundle_download(const char *url, const int *sec_tags, uint8_t sec_tag_count)
{
	if (url == NULL) {
		return -EINVAL;
	}
	return ota_bundle_download_from(url, sec_tags, sec_tag_count, 0, true);
}

int ota_bundle_resume(const int *sec_tags, uint8_t sec_tag_count)
{
	struct fs_dirent entry;
	struct ota_download_state state;
	int err;

	if (fs_stat(OTA_BUNDLE_PATH, &entry) == 0) {
		LOG_INF("A complete bundle is already available");
		return -EALREADY;
	}
	err = download_state_load(&state);
	if (err < 0) {
		LOG_ERR("No resumable download state (%d)", err);
		return err;
	}
	return ota_bundle_download_from(state.url, sec_tags, sec_tag_count,
					(size_t)state.offset, false);
}

void ota_bundle_status(void)
{
	struct fs_dirent entry;
	struct ota_download_state state;

	if (fs_stat(OTA_BUNDLE_PATH, &entry) == 0) {
		LOG_INF("Complete OTA bundle available: %u bytes", (uint32_t)entry.size);
		return;
	}
	if (fs_stat(OTA_PARTIAL_PATH, &entry) == 0) {
		if (download_state_load(&state) == 0) {
			LOG_INF("Partial OTA bundle: %u bytes on disk, %llu bytes checkpointed; "
				"resume metadata valid", (uint32_t)entry.size,
				(unsigned long long)state.offset);
		} else {
			LOG_WRN("Partial OTA bundle present (%u bytes), but resume metadata is invalid",
				(uint32_t)entry.size);
		}
		return;
	}
	LOG_INF("No OTA bundle or partial download available");
}

int ota_bundle_delete(void)
{
	return unlink_if_exists(OTA_BUNDLE_PATH);
}

static int stage_nrf53_update(int image, off_t offset, size_t length)
{
	struct fs_file_t file;
	ssize_t bytes_read;
	int err;

	if (length < sizeof(uint32_t)) {
		return -EBADMSG;
	}
	fs_file_t_init(&file);
	err = fs_open(&file, OTA_BUNDLE_PATH, FS_O_READ);
	if (err < 0) {
		return err;
	}
	err = fs_seek(&file, offset, FS_SEEK_SET);
	if (err < 0) {
		goto out_close;
	}
	bytes_read = fs_read(&file, dl_buf, sizeof(uint32_t));
	if (bytes_read != sizeof(uint32_t) || !dfu_target_mcuboot_identify(dl_buf)) {
		LOG_ERR("nRF53 image %d is not a MCUboot image", image);
		err = bytes_read < 0 ? (int)bytes_read : -EBADMSG;
		goto out_close;
	}
	err = fs_seek(&file, offset, FS_SEEK_SET);
	if (err < 0) {
		goto out_close;
	}
	err = dfu_target_mcuboot_set_buf(mcuboot_buf, sizeof(mcuboot_buf));
	if (err < 0) {
		goto out_close;
	}
	err = dfu_target_mcuboot_init(length, image, NULL);
	if (err < 0) {
		goto out_close;
	}

	for (size_t remaining = length; remaining > 0;) {
		bytes_read = fs_read(&file, dl_buf, MIN(remaining, sizeof(dl_buf)));
		if (bytes_read <= 0) {
			err = bytes_read < 0 ? (int)bytes_read : -ENODATA;
			goto out_abort;
		}
		err = dfu_target_mcuboot_write(dl_buf, bytes_read);
		if (err < 0) {
			goto out_abort;
		}
		remaining -= bytes_read;
	}
	err = dfu_target_mcuboot_done(true);
	if (err == 0) {
		LOG_INF("nRF53 image %d staged: %zu bytes", image, length);
	}
	goto out_close;

out_abort:
	(void)dfu_target_mcuboot_done(false);
out_close:
	if (err) {
		fs_close(&file);
		return err;
	}
	return fs_close(&file);
}

static int apply_nrf91_update(enum sm_xdfu_image_type type, off_t offset, size_t length)
{
	const struct device *modem = DEVICE_DT_GET(DT_ALIAS(modem));
	struct net_if *iface = net_if_get_first_by_type(&NET_L2_GET_NAME(PPP));
	bool was_up;
	int err;
	int restore_err;

	if (iface == NULL) {
		return -ENODEV;
	}
	was_up = net_if_is_up(iface);
	if (was_up) {
		err = net_if_down(iface);
		if (err < 0) {
			return err;
		}
	}
	err = pm_device_action_run(modem, PM_DEVICE_ACTION_SUSPEND);
	if (err < 0 && err != -EALREADY) {
		LOG_ERR("Failed to suspend modem for XDFU: %d", err);
		goto restore_interface;
	}

	LOG_INF("Transferring nRF91 update type %d: offset %lld, size %zu",
		type, (long long)offset, length);
	err = sm_xdfu_run(modem, type, OTA_BUNDLE_PATH, offset, length);
	if (type == SM_XDFU_TYPE_FULL_MFW && err < 0) {
		LOG_ERR("Full-modem update failed; modem remains suspended for retry");
		return err;
	}
	if (err == 0) {
		LOG_INF("nRF91 update transfer complete");
	}

restore_interface:
	if (was_up) {
		restore_err = net_if_up(iface);
		if (restore_err < 0) {
			LOG_ERR("Failed to restore PPP interface: %d", restore_err);
			if (err == 0) {
				err = restore_err;
			}
		}
	}
	return err;
}

int ota_bundle_apply(void)
{
	uint8_t digest[32];
	uint8_t expected_digest[32];
	struct ota_bundle bundle = {0};
	psa_hash_operation_t sha_ctx = {0};
	size_t header_len = 0;
	size_t digest_len = 0;
	uint64_t payload_offset;
	uint32_t remaining;
	ssize_t bytes_read;
	int err;
	bool sha_initialized = false;
	bool nrf53_staged = false;
	bool primary_staged = false;

	fs_file_t_init(&ota_file);
	err = fs_open(&ota_file, OTA_BUNDLE_PATH, FS_O_READ);
	if (err) {
		LOG_ERR("fs_open failed: %d", err);
		return err;
	}

	bytes_read = fs_read(&ota_file, dl_buf, sizeof(dl_buf));
	if (bytes_read <= 0) {
		err = bytes_read < 0 ? (int)bytes_read : -EBADMSG;
		LOG_ERR("Failed to read OTA bundle header: %d", err);
		goto out_close;
	}

	err = cbor_decode_ota_bundle(dl_buf, (size_t)bytes_read, &bundle, &header_len);
	if (err != ZCBOR_SUCCESS || header_len == 0 || header_len > (size_t)bytes_read) {
		LOG_ERR("Invalid OTA bundle header: %d", err);
		err = -EBADMSG;
		goto out_close;
	}

	memcpy(expected_digest, bundle.bundle_sha256.value, sizeof(expected_digest));

	err = fs_seek(&ota_file, (off_t)header_len, FS_SEEK_SET);
	if (err) {
		LOG_ERR("Failed to seek to OTA payload: %d", err);
		goto out_close;
	}

	psa_status_t psa_err = psa_crypto_init();
	if (psa_err != PSA_SUCCESS) {
		LOG_ERR("Failed to initialize PSA Crypto: %d", psa_err);
		err = -EIO;
		goto out_close;
	}
	psa_err = psa_hash_setup(&sha_ctx, PSA_ALG_SHA_256);
	if (psa_err != PSA_SUCCESS) {
		LOG_ERR("Failed to initialize SHA-256: %d", psa_err);
		err = -EIO;
		goto out_close;
	}
	sha_initialized = true;

	remaining = bundle.bundle_size;
	while (remaining > 0) {
		size_t read_size = remaining < sizeof(dl_buf) ? remaining : sizeof(dl_buf);

		bytes_read = fs_read(&ota_file, dl_buf, read_size);
		if (bytes_read <= 0) {
			err = bytes_read < 0 ? (int)bytes_read : -EBADMSG;
			LOG_ERR("Failed to read OTA payload: %d", err);
			goto out_free_sha;
		}
		psa_err = psa_hash_update(&sha_ctx, dl_buf, (size_t)bytes_read);
		if (psa_err != PSA_SUCCESS) {
			LOG_ERR("Failed to update SHA-256: %d", psa_err);
			err = -EIO;
			goto out_free_sha;
		}
		remaining -= (uint32_t)bytes_read;
	}

	bytes_read = fs_read(&ota_file, dl_buf, 1);
	if (bytes_read != 0) {
		LOG_ERR("OTA bundle has trailing data or could not be read");
		err = bytes_read < 0 ? (int)bytes_read : -EBADMSG;
		goto out_free_sha;
	}

	psa_err = psa_hash_finish(&sha_ctx, digest, sizeof(digest), &digest_len);
	sha_initialized = false;
	if (psa_err != PSA_SUCCESS || digest_len != sizeof(digest)) {
		LOG_ERR("Failed to finish SHA-256: %d", psa_err);
		err = -EIO;
		goto out_free_sha;
	}
	if (memcmp(digest, expected_digest, sizeof(digest)) != 0) {
		LOG_ERR("OTA bundle SHA-256 mismatch");
		err = -EBADMSG;
		goto out_free_sha;
	}
	err = 0;

	payload_offset = header_len;
	LOG_INF("OTA bundle valid: %u payload bytes, %zu elements; SHA-256 verified",
		bundle.bundle_size, bundle.ota_element_m_count);
	for (size_t i = 0; i < bundle.ota_element_m_count; i++) {
		const struct ota_element *element = &bundle.ota_element_m[i];

		LOG_INF("  %s: offset %llu, size %u bytes", ota_target_name(element->target_choice),
			(unsigned long long)payload_offset, element->size);
		payload_offset += element->size;
	}

	LOG_INF("expected size: %llu, actual size: %llu",
		(unsigned long long)bundle.bundle_size + header_len,
		(unsigned long long)payload_offset);
	if (payload_offset != (uint64_t)bundle.bundle_size + header_len) {
		LOG_ERR("OTA bundle element sizes do not match bundle_size");
		err = -EBADMSG;
	}

out_free_sha:
	if (sha_initialized) {
		(void)psa_hash_abort(&sha_ctx);
	}
out_close:
	if (err) {
		fs_close(&ota_file);
		return err;
	}
	err = fs_close(&ota_file);
	if (err) {
		return err;
	}

	payload_offset = header_len;
	err = -ENOTSUP;
	for (size_t i = 0; i < bundle.ota_element_m_count; i++) {
		const struct ota_element *element = &bundle.ota_element_m[i];

		switch (element->target_choice) {
		case ota_element_target_nrf53_app_m_c:
		case ota_element_target_nrf53_net_m_c:
		case ota_element_target_nrf53_bl_m_c:
			if (element->target_choice != ota_element_target_nrf53_net_m_c &&
			    primary_staged) {
				LOG_ERR("nRF53 app/bootloader staging partition is already primed");
				return -EBUSY;
			}
			err = stage_nrf53_update(
				element->target_choice == ota_element_target_nrf53_net_m_c ? 1 : 0,
				(off_t)payload_offset, element->size);
			if (err) {
				return err;
			}
			nrf53_staged = true;
			if (element->target_choice != ota_element_target_nrf53_net_m_c) {
				primary_staged = true;
			}
			break;
		case ota_element_target_nrf91_app_m_c:
			err = apply_nrf91_update(SM_XDFU_TYPE_APP, (off_t)payload_offset, element->size);
			if (err) {
				return err;
			}
			break;
		case ota_element_target_nrf91_mdm_delta_m_c:
			err = apply_nrf91_update(SM_XDFU_TYPE_DELTA_MFW, (off_t)payload_offset,
					 element->size);
			if (err) {
				return err;
			}
			break;
		case ota_element_target_nrf91_mdm_full_m_c:
			err = apply_nrf91_update(SM_XDFU_TYPE_FULL_MFW, (off_t)payload_offset,
					 element->size);
			if (err) {
				return err;
			}
			break;
		default:
			LOG_WRN("Not applying %s: target not implemented",
				ota_target_name(element->target_choice));
			break;
		}
		payload_offset += element->size;
	}
	if (nrf53_staged) {
		for (size_t i = 0; i < bundle.ota_element_m_count; i++) {
			const struct ota_element *element = &bundle.ota_element_m[i];

			if (element->target_choice != ota_element_target_nrf53_app_m_c &&
			    element->target_choice != ota_element_target_nrf53_net_m_c &&
			    element->target_choice != ota_element_target_nrf53_bl_m_c) {
				continue;
			}
			err = dfu_target_mcuboot_schedule_update(
				element->target_choice == ota_element_target_nrf53_net_m_c ? 1 : 0);
			if (err) {
				return err;
			}
		}
		LOG_INF("nRF53 updates scheduled");
	}
	return err;
}

void modem_hard_reset(void)
{
	int ret;

	LOG_WRN("Hard resetting modem and cold rebooting host");
	if (!gpio_is_ready_dt(&modem_reset)) {
		LOG_ERR("Modem reset GPIO is not ready");
	} else {
		ret = gpio_pin_configure_dt(&modem_reset, GPIO_OUTPUT_ACTIVE);
		if (ret < 0) {
			LOG_ERR("Cannot assert modem reset (%d)", ret);
		} else {
			k_sleep(K_MSEC(100));

			ret = gpio_pin_set_dt(&modem_reset, 0);
			if (ret < 0) {
				LOG_ERR("Cannot release modem reset (%d)", ret);
			}

			ret = gpio_pin_configure_dt(&modem_reset, GPIO_INPUT);
			if (ret < 0) {
				LOG_ERR("Cannot return modem reset GPIO to input (%d)", ret);
			}
		}
	}

	sys_reboot(SYS_REBOOT_COLD);
}
```

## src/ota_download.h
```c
/*
 * Copyright (c) 2026 Nordic Semiconductor ASA
 *
 * SPDX-License-Identifier: LicenseRef-Nordic-5-Clause
 */

#ifndef OTA_DOWNLOAD_H_
#define OTA_DOWNLOAD_H_

#include <stdint.h>

/** Path of the complete OTA bundle on the external flash file system. */
#define OTA_BUNDLE_PATH "/ota/bundle.bin"

/**
 * @brief Download an OTA bundle to OTA_BUNDLE_PATH.
 *
 * Blocks until the download completes or fails. Any previous bundle or partial
 * download is removed first. Failed downloads retain their last synced checkpoint
 * and can be continued with ota_bundle_resume().
 *
 * @param url            HTTP(S) URL of the bundle.
 * @param sec_tags       TLS security tags, or NULL for plain HTTP.
 * @param sec_tag_count  Number of entries in @p sec_tags.
 *
 * @retval 0 on success, negative errno on failure.
 */
int ota_bundle_download(const char *url, const int *sec_tags, uint8_t sec_tag_count);

/**
 * @brief Resume the download saved by ota_bundle_download().
 *
 * The signed URL is persisted locally and is not logged. The URL must still be valid
 * and its server must support HTTP range requests.
 *
 * @retval 0 on success, negative errno on failure.
 */
int ota_bundle_resume(const int *sec_tags, uint8_t sec_tag_count);

/** @brief Log whether a complete bundle or resumable partial download is available. */
void ota_bundle_status(void);

/** @brief Remove the completed OTA bundle after a successful apply. */
int ota_bundle_delete(void);

/**
 * @brief Verify the downloaded bundle and apply its supported update elements.
 *
 * Verifies element metadata, payload size, and SHA-256 before any transfer.
 * Suspends the modem and PPP interface, streams application, modem delta, or
 * full-modem firmware using AT#XDFU, and restores networking after success.
 * A failed full-modem update leaves the modem suspended for retry.
 * Network registration completes asynchronously. Other targets are not applied.
 * The nRF91 application must confirm its new MCUboot image after booting.
 * nRF53 app/net images are staged in their MCUboot secondary slots in file order.
 * nRF53 bootloader images share app staging; a second app/bootloader write is
 * rejected with -EBUSY. MCUboot copies a bootloader candidate into the inactive
 * S0/S1 bank on reboot, without direct bank writes by this application.
 * After all supported transfers succeed, only the staged nRF53 images are
 * scheduled and the host reboots. No nRF53 image is scheduled on a staging error.
 *
 * @retval 0 on success, negative errno on failure.
 * @retval -ENOTSUP if the bundle contains no supported update element.
 */
int ota_bundle_apply(void);

/**
 * @brief Pulse the modem reset pin, release it, and cold reboot the host.
 *
 * The host reboots even if GPIO configuration or reset fails.
 */
void modem_hard_reset(void);

#endif /* OTA_DOWNLOAD_H_ */
```

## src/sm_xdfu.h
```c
/*
 * Copyright (c) 2026 Nordic Semiconductor ASA
 *
 * SPDX-License-Identifier: LicenseRef-Nordic-5-Clause
 */

#ifndef SM_XDFU_H_
#define SM_XDFU_H_

#include <stddef.h>
#include <sys/types.h>
#include <zephyr/device.h>

enum sm_xdfu_image_type {
	SM_XDFU_TYPE_APP = 0,
	SM_XDFU_TYPE_DELTA_MFW = 1,
	SM_XDFU_TYPE_FULL_MFW = 2,
};

/**
 * Transfer an nRF91 update from a file range using AT#XDFU.
 *
 * The caller must suspend the cellular driver and stop networking first.
 * Application and delta updates are scheduled and followed by a modem reset.
 * Full-modem updates decode a Nordic CBOR package, verify its firmware blob,
 * enter bootloader mode, and write addressed segments. Final apply reboots the
 * modem automatically. Returns after receiving Ready on success.
 * A failed full update may require a complete retry before the modem is usable.
 * A new application is responsible for confirming its MCUboot image.
 *
 * @return 0 on success, negative errno on failure.
 */
int sm_xdfu_run(const struct device *modem, enum sm_xdfu_image_type type,
	       const char *file, off_t offset, size_t length);

/** Query the Serial Modem application version using AT#XSMVER.
 *
 * The modem cellular driver and UART must be suspended by the caller.
 */
int sm_xdfu_get_slm_version(const struct device *modem, char *version, size_t version_size);

#endif
```
